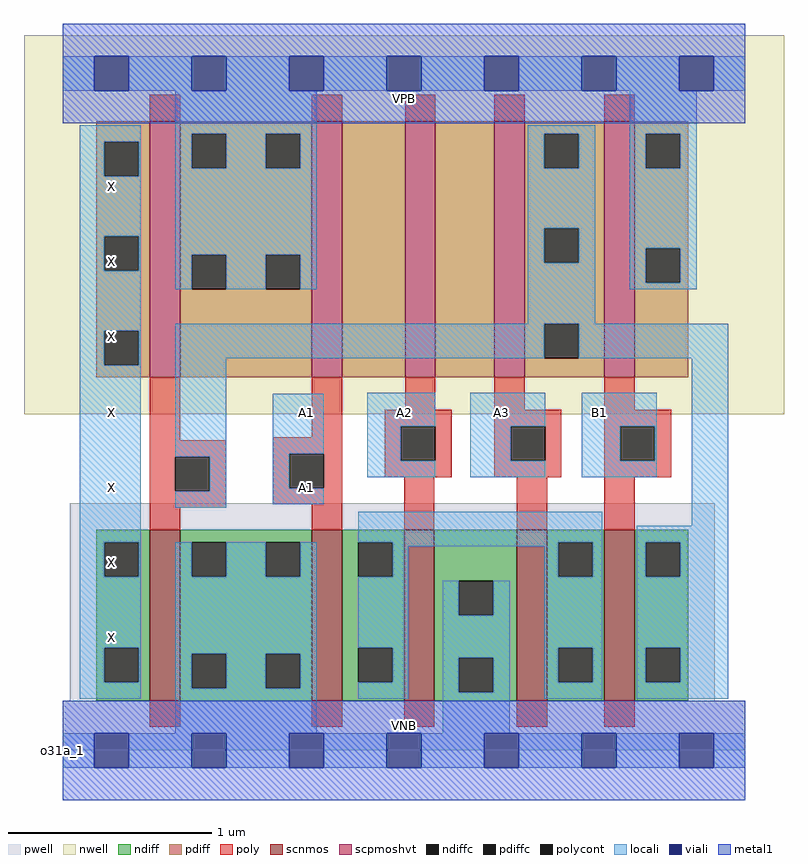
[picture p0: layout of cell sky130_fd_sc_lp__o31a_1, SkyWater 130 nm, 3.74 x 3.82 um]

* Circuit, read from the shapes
.subckt sky130_fd_sc_lp__o31a_1 A1 A2 A3 B1 VGND VNB VPB VPWR X
XM1 VGND n1 X VNB sky130_fd_pr__nfet_01v8 w=0.84 l=0.15
XM2 n2 A1 VGND VNB sky130_fd_pr__nfet_01v8 w=0.84 l=0.15
XM3 VGND A2 n2 VNB sky130_fd_pr__nfet_01v8 w=0.84 l=0.15
XM4 n2 A3 VGND VNB sky130_fd_pr__nfet_01v8 w=0.84 l=0.15
XM5 n1 B1 n2 VNB sky130_fd_pr__nfet_01v8 w=0.84 l=0.15
XM6 VPWR n1 X VPB sky130_fd_pr__pfet_01v8_hvt w=1.26 l=0.15
XM7 n3 A1 VPWR VPB sky130_fd_pr__pfet_01v8_hvt w=1.26 l=0.15
XM8 n4 A2 n3 VPB sky130_fd_pr__pfet_01v8_hvt w=1.26 l=0.15
XM9 n1 A3 n4 VPB sky130_fd_pr__pfet_01v8_hvt w=1.26 l=0.15
XM10 VPWR B1 n1 VPB sky130_fd_pr__pfet_01v8_hvt w=1.26 l=0.15
.ends

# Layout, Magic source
magic
tech sky130A
magscale 1 2
<< nwell >>
rect -38 331 710 704
<< pwell >>
rect 7 49 642 243
rect 0 0 672 49
<< scnmos >>
rect 86 49 116 217
rect 245 49 275 217
rect 336 49 366 217
rect 447 49 477 217
rect 533 49 563 217
<< scpmoshvt >>
rect 86 367 116 619
rect 245 367 275 619
rect 337 367 367 619
rect 425 367 455 619
rect 533 367 563 619
<< ndiff >>
rect 33 205 86 217
rect 33 171 41 205
rect 75 171 86 205
rect 33 101 86 171
rect 33 67 41 101
rect 75 67 86 101
rect 33 49 86 67
rect 116 205 245 217
rect 116 171 127 205
rect 161 171 200 205
rect 234 171 245 205
rect 116 95 245 171
rect 116 61 127 95
rect 161 61 200 95
rect 234 61 245 95
rect 116 49 245 61
rect 275 205 336 217
rect 275 171 291 205
rect 325 171 336 205
rect 275 101 336 171
rect 275 67 291 101
rect 325 67 336 101
rect 275 49 336 67
rect 366 167 447 217
rect 366 133 390 167
rect 424 133 447 167
rect 366 91 447 133
rect 366 57 390 91
rect 424 57 447 91
rect 366 49 447 57
rect 477 205 533 217
rect 477 171 488 205
rect 522 171 533 205
rect 477 101 533 171
rect 477 67 488 101
rect 522 67 533 101
rect 477 49 533 67
rect 563 205 616 217
rect 563 171 574 205
rect 608 171 616 205
rect 563 101 616 171
rect 563 67 574 101
rect 608 67 616 101
rect 563 49 616 67
<< pdiff >>
rect 33 599 86 619
rect 33 565 41 599
rect 75 565 86 599
rect 33 506 86 565
rect 33 472 41 506
rect 75 472 86 506
rect 33 413 86 472
rect 33 379 41 413
rect 75 379 86 413
rect 33 367 86 379
rect 116 607 245 619
rect 116 573 127 607
rect 161 573 200 607
rect 234 573 245 607
rect 116 488 245 573
rect 116 454 127 488
rect 161 454 200 488
rect 234 454 245 488
rect 116 367 245 454
rect 275 367 337 619
rect 367 367 425 619
rect 455 607 533 619
rect 455 573 474 607
rect 508 573 533 607
rect 455 514 533 573
rect 455 480 474 514
rect 508 480 533 514
rect 455 420 533 480
rect 455 386 474 420
rect 508 386 533 420
rect 455 367 533 386
rect 563 607 616 619
rect 563 573 574 607
rect 608 573 616 607
rect 563 494 616 573
rect 563 460 574 494
rect 608 460 616 494
rect 563 367 616 460
<< ndiffc >>
rect 41 171 75 205
rect 41 67 75 101
rect 127 171 161 205
rect 200 171 234 205
rect 127 61 161 95
rect 200 61 234 95
rect 291 171 325 205
rect 291 67 325 101
rect 390 133 424 167
rect 390 57 424 91
rect 488 171 522 205
rect 488 67 522 101
rect 574 171 608 205
rect 574 67 608 101
<< pdiffc >>
rect 41 565 75 599
rect 41 472 75 506
rect 41 379 75 413
rect 127 573 161 607
rect 200 573 234 607
rect 127 454 161 488
rect 200 454 234 488
rect 474 573 508 607
rect 474 480 508 514
rect 474 386 508 420
rect 574 573 608 607
rect 574 460 608 494
<< poly >>
rect 86 619 116 645
rect 245 619 275 645
rect 337 619 367 645
rect 425 619 455 645
rect 533 619 563 645
rect 86 305 116 367
rect 245 308 275 367
rect 337 335 367 367
rect 425 335 455 367
rect 533 335 563 367
rect 86 289 161 305
rect 86 255 111 289
rect 145 255 161 289
rect 86 239 161 255
rect 207 292 275 308
rect 207 258 223 292
rect 257 258 275 292
rect 317 319 383 335
rect 317 285 333 319
rect 367 285 383 319
rect 317 269 383 285
rect 425 319 491 335
rect 425 285 441 319
rect 475 285 491 319
rect 425 269 491 285
rect 533 319 599 335
rect 533 285 549 319
rect 583 285 599 319
rect 533 269 599 285
rect 207 242 275 258
rect 86 217 116 239
rect 245 217 275 242
rect 336 217 366 269
rect 447 217 477 269
rect 533 217 563 269
rect 86 23 116 49
rect 245 23 275 49
rect 336 23 366 49
rect 447 23 477 49
rect 533 23 563 49
<< polycont >>
rect 111 255 145 289
rect 223 258 257 292
rect 333 285 367 319
rect 441 285 475 319
rect 549 285 583 319
<< locali >>
rect 0 649 31 683
rect 65 649 127 683
rect 161 649 223 683
rect 257 649 319 683
rect 353 649 415 683
rect 449 649 511 683
rect 545 649 607 683
rect 641 649 672 683
rect 17 599 77 615
rect 17 565 41 599
rect 75 565 77 599
rect 17 506 77 565
rect 17 472 41 506
rect 75 472 77 506
rect 17 413 77 472
rect 111 607 250 649
rect 111 573 127 607
rect 161 573 200 607
rect 234 573 250 607
rect 111 488 250 573
rect 111 454 127 488
rect 161 454 200 488
rect 234 454 250 488
rect 458 607 524 615
rect 458 573 474 607
rect 508 573 524 607
rect 458 514 524 573
rect 458 480 474 514
rect 508 480 524 514
rect 458 420 524 480
rect 558 607 624 649
rect 558 573 574 607
rect 608 573 624 607
rect 558 494 624 573
rect 558 460 574 494
rect 608 460 624 494
rect 558 454 624 460
rect 17 379 41 413
rect 75 379 77 413
rect 17 205 77 379
rect 111 386 474 420
rect 508 386 655 420
rect 111 289 161 386
rect 145 255 161 289
rect 111 239 161 255
rect 207 292 257 351
rect 207 258 223 292
rect 300 319 367 352
rect 300 285 333 319
rect 300 269 367 285
rect 401 319 475 352
rect 401 285 441 319
rect 401 269 475 285
rect 511 319 585 352
rect 511 285 549 319
rect 583 285 585 319
rect 511 269 585 285
rect 207 242 257 258
rect 291 205 531 235
rect 619 221 655 386
rect 17 171 41 205
rect 75 171 77 205
rect 17 101 77 171
rect 17 67 41 101
rect 75 67 77 101
rect 17 51 77 67
rect 111 171 127 205
rect 161 171 200 205
rect 234 171 250 205
rect 111 95 250 171
rect 111 61 127 95
rect 161 61 200 95
rect 234 61 250 95
rect 111 17 250 61
rect 325 201 488 205
rect 325 171 340 201
rect 291 101 340 171
rect 474 171 488 201
rect 522 171 531 205
rect 325 67 340 101
rect 291 51 340 67
rect 374 133 390 167
rect 424 133 440 167
rect 374 91 440 133
rect 374 57 390 91
rect 424 57 440 91
rect 374 17 440 57
rect 474 101 531 171
rect 474 67 488 101
rect 522 67 531 101
rect 474 51 531 67
rect 565 205 655 221
rect 565 171 574 205
rect 608 171 655 205
rect 565 101 655 171
rect 565 67 574 101
rect 608 67 655 101
rect 565 51 655 67
rect 0 -17 31 17
rect 65 -17 127 17
rect 161 -17 223 17
rect 257 -17 319 17
rect 353 -17 415 17
rect 449 -17 511 17
rect 545 -17 607 17
rect 641 -17 672 17
<< viali >>
rect 31 649 65 683
rect 127 649 161 683
rect 223 649 257 683
rect 319 649 353 683
rect 415 649 449 683
rect 511 649 545 683
rect 607 649 641 683
rect 31 -17 65 17
rect 127 -17 161 17
rect 223 -17 257 17
rect 319 -17 353 17
rect 415 -17 449 17
rect 511 -17 545 17
rect 607 -17 641 17
<< metal1 >>
rect 0 683 672 715
rect 0 649 31 683
rect 65 649 127 683
rect 161 649 223 683
rect 257 649 319 683
rect 353 649 415 683
rect 449 649 511 683
rect 545 649 607 683
rect 641 649 672 683
rect 0 617 672 649
rect 0 17 672 49
rect 0 -17 31 17
rect 65 -17 127 17
rect 161 -17 223 17
rect 257 -17 319 17
rect 353 -17 415 17
rect 449 -17 511 17
rect 545 -17 607 17
rect 641 -17 672 17
rect 0 -49 672 -17
<< labels >>
flabel pwell s 0 0 672 49 0 FreeSans 200 0 0 0 VNB
port 6 nsew ground bidirectional
flabel nwell s 0 617 672 666 0 FreeSans 200 0 0 0 VPB
port 7 nsew power bidirectional
rlabel comment s 0 0 0 0 4 o31a_1
flabel metal1 s 0 617 672 666 0 FreeSans 340 0 0 0 VPWR
port 8 nsew power bidirectional
flabel metal1 s 0 0 672 49 0 FreeSans 340 0 0 0 VGND
port 5 nsew ground bidirectional
flabel locali s 223 242 257 276 0 FreeSans 340 0 0 0 A1
port 1 nsew signal input
flabel locali s 223 316 257 350 0 FreeSans 340 0 0 0 A1
port 1 nsew signal input
flabel locali s 319 316 353 350 0 FreeSans 340 0 0 0 A2
port 2 nsew signal input
flabel locali s 415 316 449 350 0 FreeSans 340 0 0 0 A3
port 3 nsew signal input
flabel locali s 511 316 545 350 0 FreeSans 340 0 0 0 B1
port 4 nsew signal input
flabel locali s 31 94 65 128 0 FreeSans 340 0 0 0 X
port 9 nsew signal output
flabel locali s 31 168 65 202 0 FreeSans 340 0 0 0 X
port 9 nsew signal output
flabel locali s 31 242 65 276 0 FreeSans 340 0 0 0 X
port 9 nsew signal output
flabel locali s 31 316 65 350 0 FreeSans 340 0 0 0 X
port 9 nsew signal output
flabel locali s 31 390 65 424 0 FreeSans 340 0 0 0 X
port 9 nsew signal output
flabel locali s 31 464 65 498 0 FreeSans 340 0 0 0 X
port 9 nsew signal output
flabel locali s 31 538 65 572 0 FreeSans 340 0 0 0 X
port 9 nsew signal output
<< properties >>
string LEFsite unit
string LEFclass CORE
string FIXED_BBOX 0 0 672 666
string GDS_FILE $PDKPATH/libs.ref/sky130_fd_sc_lp/gds/sky130_fd_sc_lp.gds
string LEFsymmetry X Y R90
string GDS_END 1280996
string GDS_START 1273904
<< end >>
